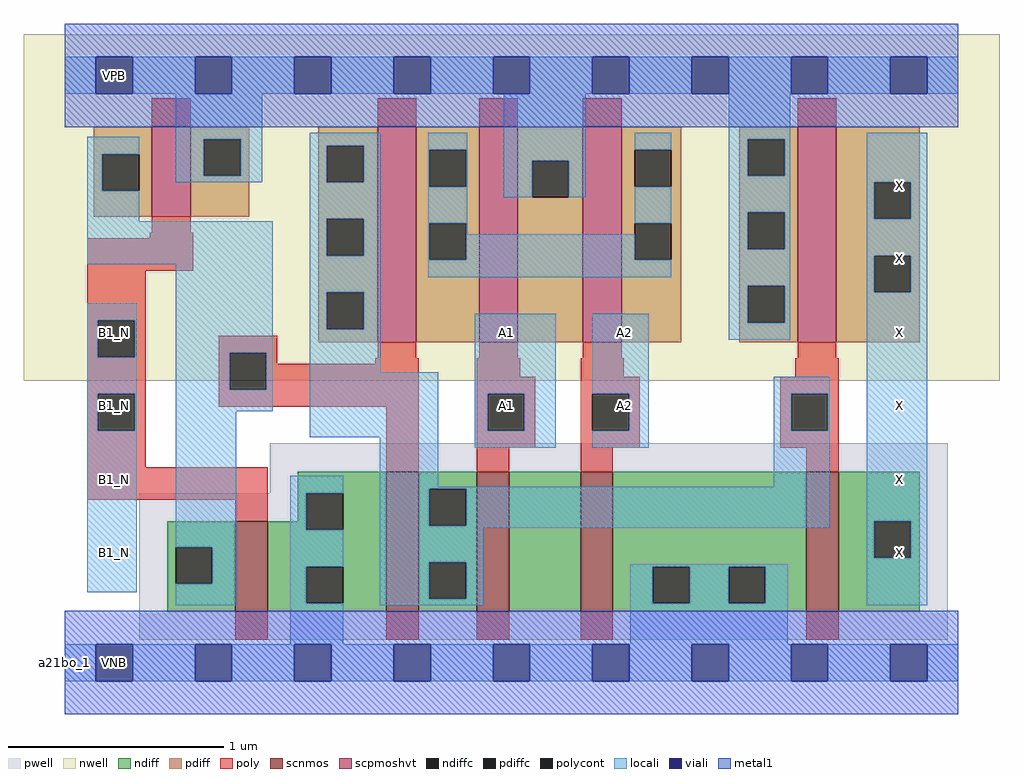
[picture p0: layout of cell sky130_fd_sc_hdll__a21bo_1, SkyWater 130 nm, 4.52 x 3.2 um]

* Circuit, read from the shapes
.subckt sky130_fd_sc_hdll__a21bo_1 A1 A2 B1_N VGND VNB VPB VPWR X
XM1 VGND B1_N n1 VNB sky130_fd_pr__nfet_01v8 w=0.42 l=0.15
XM2 n2 n1 VGND VNB sky130_fd_pr__nfet_01v8 w=0.65 l=0.15
XM3 n3 A1 n2 VNB sky130_fd_pr__nfet_01v8 w=0.65 l=0.15
XM4 VGND A2 n3 VNB sky130_fd_pr__nfet_01v8 w=0.65 l=0.15
XM5 X n2 VGND VNB sky130_fd_pr__nfet_01v8 w=0.65 l=0.15
XM6 VPWR B1_N n1 VPB sky130_fd_pr__pfet_01v8_hvt w=0.42 l=0.18
XM7 n4 n1 n2 VPB sky130_fd_pr__pfet_01v8_hvt w=1 l=0.18
XM8 VPWR A1 n4 VPB sky130_fd_pr__pfet_01v8_hvt w=1 l=0.18
XM9 n4 A2 VPWR VPB sky130_fd_pr__pfet_01v8_hvt w=1 l=0.18
XM10 X n2 VPWR VPB sky130_fd_pr__pfet_01v8_hvt w=1 l=0.18
.ends

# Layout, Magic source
magic
tech sky130A
magscale 1 2
<< nwell >>
rect -38 261 866 582
<< pwell >>
rect 190 157 818 203
rect 69 21 818 157
rect 29 -17 63 17
<< scnmos >>
rect 158 47 188 131
rect 298 47 328 177
rect 382 47 412 177
rect 478 47 508 177
rect 687 47 717 177
<< scpmoshvt >>
rect 81 413 117 497
rect 290 297 326 497
rect 384 297 420 497
rect 480 297 516 497
rect 679 297 715 497
<< ndiff >>
rect 216 157 298 177
rect 216 131 224 157
rect 95 107 158 131
rect 95 73 103 107
rect 137 73 158 107
rect 95 47 158 73
rect 188 123 224 131
rect 258 123 298 157
rect 188 89 298 123
rect 188 55 224 89
rect 258 55 298 89
rect 188 47 298 55
rect 328 161 382 177
rect 328 127 338 161
rect 372 127 382 161
rect 328 93 382 127
rect 328 59 338 93
rect 372 59 382 93
rect 328 47 382 59
rect 412 47 478 177
rect 508 89 687 177
rect 508 55 545 89
rect 579 55 615 89
rect 649 55 687 89
rect 508 47 687 55
rect 717 131 792 177
rect 717 97 750 131
rect 784 97 792 131
rect 717 47 792 97
<< pdiff >>
rect 27 471 81 497
rect 27 437 35 471
rect 69 437 81 471
rect 27 413 81 437
rect 117 485 171 497
rect 117 451 129 485
rect 163 451 171 485
rect 117 413 171 451
rect 235 479 290 497
rect 235 445 243 479
rect 277 445 290 479
rect 235 411 290 445
rect 235 377 243 411
rect 277 377 290 411
rect 235 343 290 377
rect 235 309 243 343
rect 277 309 290 343
rect 235 297 290 309
rect 326 475 384 497
rect 326 441 338 475
rect 372 441 384 475
rect 326 407 384 441
rect 326 373 338 407
rect 372 373 384 407
rect 326 297 384 373
rect 420 465 480 497
rect 420 431 433 465
rect 467 431 480 465
rect 420 297 480 431
rect 516 475 571 497
rect 516 441 528 475
rect 562 441 571 475
rect 516 407 571 441
rect 516 373 528 407
rect 562 373 571 407
rect 516 297 571 373
rect 625 485 679 497
rect 625 451 633 485
rect 667 451 679 485
rect 625 417 679 451
rect 625 383 633 417
rect 667 383 679 417
rect 625 349 679 383
rect 625 315 633 349
rect 667 315 679 349
rect 625 297 679 315
rect 715 445 792 497
rect 715 411 750 445
rect 784 411 792 445
rect 715 377 792 411
rect 715 343 750 377
rect 784 343 792 377
rect 715 297 792 343
<< ndiffc >>
rect 103 73 137 107
rect 224 123 258 157
rect 224 55 258 89
rect 338 127 372 161
rect 338 59 372 93
rect 545 55 579 89
rect 615 55 649 89
rect 750 97 784 131
<< pdiffc >>
rect 35 437 69 471
rect 129 451 163 485
rect 243 445 277 479
rect 243 377 277 411
rect 243 309 277 343
rect 338 441 372 475
rect 338 373 372 407
rect 433 431 467 465
rect 528 441 562 475
rect 528 373 562 407
rect 633 451 667 485
rect 633 383 667 417
rect 633 315 667 349
rect 750 411 784 445
rect 750 343 784 377
<< poly >>
rect 81 497 117 523
rect 290 497 326 523
rect 384 497 420 523
rect 480 497 516 523
rect 679 497 715 523
rect 81 398 117 413
rect 79 393 119 398
rect 21 363 119 393
rect 21 317 75 363
rect 21 283 31 317
rect 65 283 75 317
rect 21 249 75 283
rect 21 215 31 249
rect 65 215 75 249
rect 143 287 197 303
rect 143 253 153 287
rect 187 277 197 287
rect 290 282 326 297
rect 384 282 420 297
rect 480 282 516 297
rect 679 282 715 297
rect 288 277 328 282
rect 187 253 328 277
rect 143 237 328 253
rect 21 181 75 215
rect 21 151 188 181
rect 298 177 328 237
rect 382 265 422 282
rect 478 265 518 282
rect 677 265 717 282
rect 382 249 436 265
rect 382 215 392 249
rect 426 215 436 249
rect 382 199 436 215
rect 478 249 533 265
rect 478 215 489 249
rect 523 215 533 249
rect 478 199 533 215
rect 663 249 717 265
rect 663 215 673 249
rect 707 215 717 249
rect 663 199 717 215
rect 382 177 412 199
rect 478 177 508 199
rect 687 177 717 199
rect 158 131 188 151
rect 158 21 188 47
rect 298 21 328 47
rect 382 21 412 47
rect 478 21 508 47
rect 687 21 717 47
<< polycont >>
rect 31 283 65 317
rect 31 215 65 249
rect 153 253 187 287
rect 392 215 426 249
rect 489 215 523 249
rect 673 215 707 249
<< locali >>
rect 0 527 29 561
rect 63 527 121 561
rect 155 527 213 561
rect 247 527 305 561
rect 339 527 397 561
rect 431 527 489 561
rect 523 527 581 561
rect 615 527 673 561
rect 707 527 765 561
rect 799 527 828 561
rect 21 471 69 487
rect 21 437 35 471
rect 103 485 183 527
rect 103 451 129 485
rect 163 451 183 485
rect 103 445 183 451
rect 227 479 293 491
rect 227 445 243 479
rect 277 445 293 479
rect 21 409 69 437
rect 227 411 293 445
rect 21 369 193 409
rect 21 317 67 333
rect 21 283 31 317
rect 65 283 67 317
rect 21 249 67 283
rect 21 215 31 249
rect 65 215 67 249
rect 21 65 67 215
rect 103 287 193 369
rect 103 253 153 287
rect 187 253 193 287
rect 103 233 193 253
rect 227 377 243 411
rect 277 377 293 411
rect 227 343 293 377
rect 337 475 373 491
rect 337 441 338 475
rect 372 441 373 475
rect 337 407 373 441
rect 407 465 483 527
rect 407 431 433 465
rect 467 431 483 465
rect 528 475 562 491
rect 337 373 338 407
rect 372 397 373 407
rect 528 407 562 441
rect 372 373 528 397
rect 337 357 562 373
rect 615 485 672 527
rect 615 451 633 485
rect 667 451 672 485
rect 615 417 672 451
rect 615 383 633 417
rect 667 383 672 417
rect 227 309 243 343
rect 277 309 293 343
rect 615 349 672 383
rect 227 269 293 309
rect 103 107 159 233
rect 227 209 346 269
rect 137 73 159 107
rect 103 53 159 73
rect 209 157 258 173
rect 209 123 224 157
rect 209 89 258 123
rect 209 55 224 89
rect 209 17 258 55
rect 292 163 346 209
rect 380 249 455 323
rect 380 215 392 249
rect 426 215 455 249
rect 380 199 455 215
rect 489 249 541 323
rect 615 315 633 349
rect 667 315 672 349
rect 615 299 672 315
rect 743 445 799 491
rect 743 411 750 445
rect 784 411 799 445
rect 743 377 799 411
rect 743 343 750 377
rect 784 343 799 377
rect 523 215 541 249
rect 489 199 541 215
rect 657 249 709 265
rect 657 215 673 249
rect 707 215 709 249
rect 657 163 709 215
rect 292 161 709 163
rect 292 127 338 161
rect 372 127 709 161
rect 292 125 709 127
rect 743 131 799 343
rect 292 93 388 125
rect 292 59 338 93
rect 372 59 388 93
rect 743 97 750 131
rect 784 97 799 131
rect 292 53 388 59
rect 524 89 670 91
rect 524 55 545 89
rect 579 55 615 89
rect 649 55 670 89
rect 524 17 670 55
rect 743 53 799 97
rect 0 -17 29 17
rect 63 -17 121 17
rect 155 -17 213 17
rect 247 -17 305 17
rect 339 -17 397 17
rect 431 -17 489 17
rect 523 -17 581 17
rect 615 -17 673 17
rect 707 -17 765 17
rect 799 -17 828 17
<< viali >>
rect 29 527 63 561
rect 121 527 155 561
rect 213 527 247 561
rect 305 527 339 561
rect 397 527 431 561
rect 489 527 523 561
rect 581 527 615 561
rect 673 527 707 561
rect 765 527 799 561
rect 29 -17 63 17
rect 121 -17 155 17
rect 213 -17 247 17
rect 305 -17 339 17
rect 397 -17 431 17
rect 489 -17 523 17
rect 581 -17 615 17
rect 673 -17 707 17
rect 765 -17 799 17
<< metal1 >>
rect 0 561 828 592
rect 0 527 29 561
rect 63 527 121 561
rect 155 527 213 561
rect 247 527 305 561
rect 339 527 397 561
rect 431 527 489 561
rect 523 527 581 561
rect 615 527 673 561
rect 707 527 765 561
rect 799 527 828 561
rect 0 496 828 527
rect 0 17 828 48
rect 0 -17 29 17
rect 63 -17 121 17
rect 155 -17 213 17
rect 247 -17 305 17
rect 339 -17 397 17
rect 431 -17 489 17
rect 523 -17 581 17
rect 615 -17 673 17
rect 707 -17 765 17
rect 799 -17 828 17
rect 0 -48 828 -17
<< labels >>
flabel locali s 756 357 790 391 0 FreeSans 200 0 0 0 X
port 8 nsew signal output
flabel locali s 756 425 790 459 0 FreeSans 200 0 0 0 X
port 8 nsew signal output
flabel locali s 392 221 426 255 0 FreeSans 200 0 0 0 A1
port 1 nsew signal input
flabel locali s 756 289 790 323 0 FreeSans 200 0 0 0 X
port 8 nsew signal output
flabel locali s 756 221 790 255 0 FreeSans 200 0 0 0 X
port 8 nsew signal output
flabel locali s 29 221 63 255 0 FreeSans 200 0 0 0 B1_N
port 3 nsew signal input
flabel locali s 756 153 790 187 0 FreeSans 200 0 0 0 X
port 8 nsew signal output
flabel locali s 502 221 536 255 0 FreeSans 200 0 0 0 A2
port 2 nsew signal input
flabel locali s 29 289 63 323 0 FreeSans 200 0 0 0 B1_N
port 3 nsew signal input
flabel locali s 756 85 790 119 0 FreeSans 200 0 0 0 X
port 8 nsew signal output
flabel locali s 29 153 63 187 0 FreeSans 200 0 0 0 B1_N
port 3 nsew signal input
flabel locali s 29 85 63 119 0 FreeSans 200 0 0 0 B1_N
port 3 nsew signal input
flabel locali s 392 289 426 323 0 FreeSans 200 0 0 0 A1
port 1 nsew signal input
flabel locali s 502 289 536 323 0 FreeSans 200 0 0 0 A2
port 2 nsew signal input
flabel pwell s 29 -17 63 17 0 FreeSans 200 0 0 0 VNB
port 5 nsew ground bidirectional
flabel nwell s 29 527 63 561 0 FreeSans 200 0 0 0 VPB
port 6 nsew power bidirectional
flabel metal1 s 29 -17 63 17 0 FreeSans 200 0 0 0 VGND
port 4 nsew ground bidirectional
flabel metal1 s 29 527 63 561 0 FreeSans 200 0 0 0 VPWR
port 7 nsew power bidirectional
rlabel comment s 0 0 0 0 4 a21bo_1
<< properties >>
string LEFsite unithd
string LEFclass CORE
string FIXED_BBOX 0 0 828 544
string GDS_FILE $PDKPATH/libs.ref/sky130_fd_sc_hdll/gds/sky130_fd_sc_hdll.gds
string LEFsymmetry X Y R90
string GDS_END 1596746
string GDS_START 1588912
string LEFproperties maskLayoutSubType "abstract" prCellType "standard" originalViewName "layout"
<< end >>
